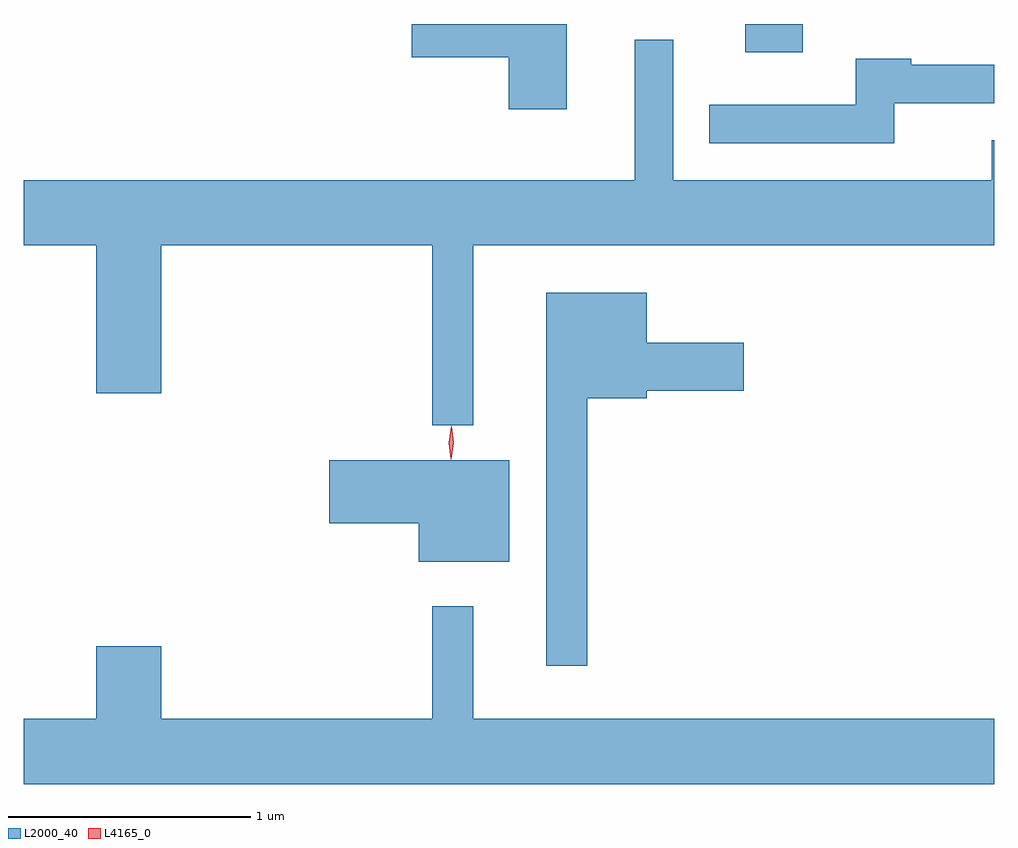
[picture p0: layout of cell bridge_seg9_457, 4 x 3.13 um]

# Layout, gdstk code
import gdstk
lib = gdstk.Library(unit=1e-6, precision=1e-09)
def R(c, l, rs):  # rectangles x0, y0, x1, y1
    for r in rs: c.add(gdstk.rectangle(r[:2], r[2:], *l))
def P(c, l, *ps):  # polygons
    for p in ps: c.add(gdstk.Polygon(p, *l))
L2000_40 = (2000, 40)
L4165_0 = (4165, 0)

bridge_seg9_457 = lib.new_cell('bridge_seg9_457')
R(bridge_seg9_457, L2000_40, [(577.391,2003.711,577.628,2003.827)])
P(bridge_seg9_457, L2000_40, [(576.654,2003.827),(576.016,2003.827),(576.016,2003.691),(576.416,2003.691),(576.416,2003.476),(576.654,2003.476)],
  [(576.269,2002.916),(578.417,2002.916),(578.417,2003.349),(578.406,2003.349),(578.406,2003.184),(577.094,2003.184),(577.094,2003.763),(576.936,2003.763),(576.936,2003.184),(574.417,2003.184),(574.417,2002.916),(574.716,2002.916),(574.716,2002.306),(574.984,2002.306),(574.984,2002.916),(576.101,2002.916),(576.101,2002.173),(576.269,2002.173)],
  [(578.004,2003.501),(578.417,2003.501),(578.417,2003.659),(578.074,2003.659),(578.074,2003.684),(577.846,2003.684),(577.846,2003.494),(577.243,2003.494),(577.243,2003.336),(578.004,2003.336)],
  [(576.739,2002.286),(576.984,2002.286),(576.984,2002.316),(577.384,2002.316),(577.384,2002.514),(576.984,2002.514),(576.984,2002.719),(576.571,2002.719),(576.571,2001.183),(576.739,2001.183)],
  [(576.419,2002.029),(575.676,2002.029),(575.676,2001.771),(576.046,2001.771),(576.046,2001.611),(576.419,2001.611)],
  [(578.417,2000.964),(576.269,2000.964),(576.269,2001.428),(576.101,2001.428),(576.101,2000.964),(574.984,2000.964),(574.984,2001.264),(574.716,2001.264),(574.716,2000.964),(574.417,2000.964),(574.417,2000.696),(578.417,2000.696)])
P(bridge_seg9_457, L4165_0, [(576.178,2002.034),(576.178,2002.034),(576.169,2002.102),(576.18,2002.17),(576.18,2002.17),(576.181,2002.17),(576.189,2002.102),(576.179,2002.034)],
  [(576.178,2002.04),(576.178,2002.041),(576.169,2002.104),(576.179,2002.166),(576.18,2002.167),(576.18,2002.166),(576.189,2002.103),(576.178,2002.041)])

lib.write_gds('bridge_seg9_457.gds')
